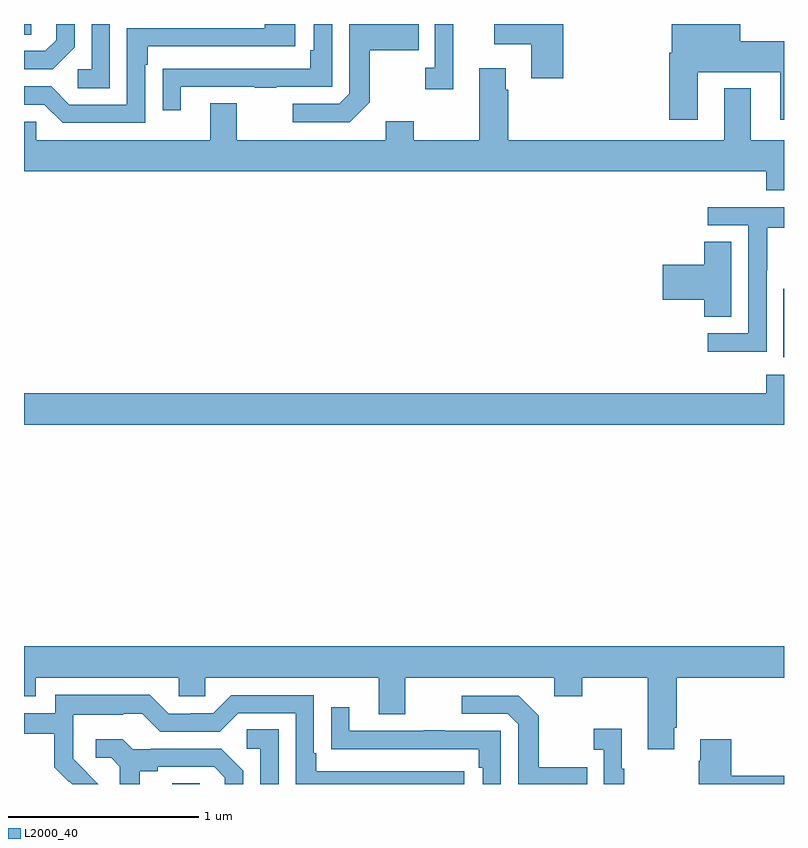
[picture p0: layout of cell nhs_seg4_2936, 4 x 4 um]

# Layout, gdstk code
import gdstk
lib = gdstk.Library(unit=1e-6, precision=1e-09)
def R(c, l, rs):  # rectangles x0, y0, x1, y1
    for r in rs: c.add(gdstk.rectangle(r[:2], r[2:], *l))
def P(c, l, *ps):  # polygons
    for p in ps: c.add(gdstk.Polygon(p, *l))
L2000_40 = (2000, 40)

nhs_seg4_2936 = lib.new_cell('nhs_seg4_2936')
R(nhs_seg4_2936, L2000_40, [(265.781,822.9,265.926,822.905), (268.997,825.146,269,825.507), (265,826.843,265.038,826.9)])
P(nhs_seg4_2936, L2000_40, [(268.546,826.646),(268.979,826.646),(268.979,826.395),(269,826.395),(269,826.81),(268.771,826.81),(268.771,826.9),(268.409,826.9),(268.409,826.75),(268.397,826.75),(268.397,826.395),(268.546,826.395)],
  [(267.26,826.9),(267.162,826.9),(267.162,826.67),(267.111,826.67),(267.111,826.557),(267.26,826.557)],
  [(267.839,826.9),(267.474,826.9),(267.474,826.793),(267.671,826.793),(267.671,826.614),(267.839,826.614)],
  [(265.266,826.778),(265.266,826.9),(265.169,826.9),(265.169,826.815),(265.112,826.758),(265,826.758),(265,826.662),(265.15,826.662)],
  [(265.825,826.569),(266.215,826.569),(266.215,826.564),(266.327,826.564),(266.327,826.569),(266.622,826.569),(266.622,826.9),(266.526,826.9),(266.526,826.762),(266.506,826.762),(266.506,826.665),(265.831,826.665),(265.831,826.664),(265.729,826.664),(265.729,826.446),(265.825,826.446)],
  [(266.821,826.489),(266.821,826.762),(267.077,826.762),(267.077,826.9),(266.712,826.9),(266.712,826.533),(266.658,826.479),(266.415,826.479),(266.415,826.383),(266.715,826.383)],
  [(265.452,826.9),(265.356,826.9),(265.356,826.662),(265.284,826.662),(265.284,826.561),(265.452,826.561)],
  [(265.638,826.685),(265.651,826.685),(265.651,826.782),(266.428,826.782),(266.428,826.9),(266.267,826.9),(266.267,826.878),(265.542,826.878),(265.542,826.476),(265.239,826.476),(265.143,826.572),(265,826.572),(265,826.476),(265.107,826.476),(265.203,826.38),(265.638,826.38)],
  [(269,826.288),(268.825,826.288),(268.825,826.561),(268.685,826.561),(268.685,826.288),(267.548,826.288),(267.548,826.553),(267.535,826.553),(267.535,826.666),(267.395,826.666),(267.395,826.288),(267.051,826.288),(267.051,826.387),(266.903,826.387),(266.903,826.288),(266.119,826.288),(266.119,826.483),(265.979,826.483),(265.979,826.288),(265.065,826.288),(265.065,826.386),(265,826.386),(265,826.124),(268.907,826.124),(268.907,826.025),(269,826.025)],
  [(268.908,825.604),(268.911,825.604),(268.911,825.828),(269,825.828),(269,825.936),(268.599,825.936),(268.599,825.84),(268.812,825.84),(268.812,825.273),(268.599,825.273),(268.599,825.175),(268.908,825.175)],
  [(268.723,825.755),(268.58,825.755),(268.58,825.632),(268.362,825.632),(268.362,825.449),(268.58,825.449),(268.58,825.358),(268.723,825.358)],
  [(269,825.055),(268.907,825.055),(268.907,824.956),(265,824.956),(265,824.792),(269,824.792)],
  [(265,823.361),(265.063,823.361),(265.063,823.46),(265.815,823.46),(265.815,823.362),(265.953,823.362),(265.953,823.46),(266.867,823.46),(266.867,823.266),(267.007,823.266),(267.007,823.46),(267.791,823.46),(267.791,823.361),(267.939,823.361),(267.939,823.46),(268.283,823.46),(268.283,823.083),(268.423,823.083),(268.423,823.195),(268.436,823.195),(268.436,823.46),(269,823.46),(269,823.624),(265,823.624)],
  [(265.331,822.959),(265.332,822.96),(265.258,823.034),(265.258,823.131),(265.26,823.131),(265.26,823.265),(265.523,823.265),(265.523,823.269),(265.623,823.269),(265.716,823.176),(266.031,823.176),(266.127,823.272),(266.43,823.272),(266.43,822.9),(267.316,822.9),(267.316,822.966),(266.539,822.966),(266.539,823.063),(266.526,823.063),(266.526,823.368),(266.091,823.368),(265.995,823.272),(265.877,823.272),(265.877,823.269),(265.761,823.269),(265.661,823.369),(265.164,823.369),(265.164,823.272),(265,823.272),(265,823.164),(265.159,823.164),(265.159,822.989),(265.236,822.912),(265.239,822.915),(265.254,822.9),(265.39,822.9)],
  [(267.965,822.987),(267.709,822.987),(267.709,823.259),(267.603,823.365),(267.303,823.365),(267.303,823.269),(267.546,823.269),(267.6,823.215),(267.6,822.9),(267.965,822.9)],
  [(267.51,823.179),(267.215,823.179),(267.215,823.184),(267.103,823.184),(267.103,823.179),(266.713,823.179),(266.713,823.303),(266.617,823.303),(266.617,823.084),(266.719,823.084),(266.719,823.083),(267.394,823.083),(267.394,822.986),(267.414,822.986),(267.414,822.9),(267.51,822.9)],
  [(268.159,822.979),(268.147,822.979),(268.147,823.192),(267.999,823.192),(267.999,823.079),(268.05,823.079),(268.05,822.9),(268.159,822.9)],
  [(266.34,823.187),(266.172,823.187),(266.172,823.086),(266.244,823.086),(266.244,822.9),(266.34,822.9)],
  [(265.609,822.968),(265.705,822.968),(265.705,822.99),(266,822.99),(266.057,822.933),(266.057,822.9),(266.154,822.9),(266.154,822.97),(266.038,823.086),(265.666,823.086),(265.666,823.083),(265.572,823.083),(265.52,823.135),(265.377,823.135),(265.377,823.038),(265.458,823.038),(265.505,822.991),(265.505,822.9),(265.609,822.9)],
  [(269,822.944),(268.722,822.944),(268.722,823.135),(268.559,823.135),(268.559,823.022),(268.552,823.022),(268.552,822.9),(269,822.9)])

lib.write_gds('nhs_seg4_2936.gds')
